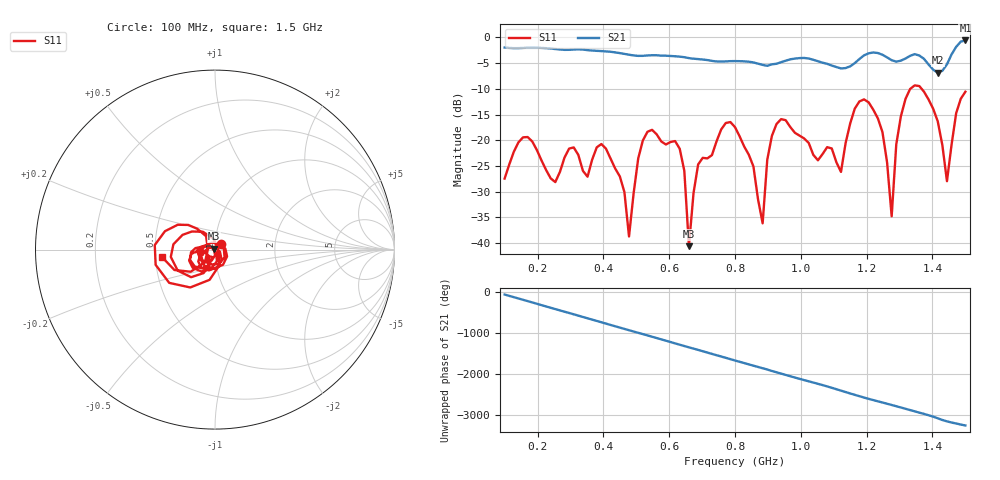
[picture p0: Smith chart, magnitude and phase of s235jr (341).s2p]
! NanoVNA-App
! Date: 2025-09-25 15:06:49
! Start: 100MHz Stop: 1,5GHz Points: 101
! S-Parameter data: F S11 S21 S12 S22
# Hz S RI R 50
!  Frequency  S11_Real  S11_Imag  S21_Real  S21_Imag  S12_Real  S12_Imag  S22_Real  S22_Imag
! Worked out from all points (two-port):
!   101 points, 100 MHz to 1.5 GHz, reference 50 ohm
!   highest |S21| = -0.59 dB at 1.5 GHz (marker M1); lowest = -6.9 dB at 1.416 GHz (marker M2)
!   |S21| within 3 dB of the highest: start of sweep to 505.9 MHz; 507.8 MHz to 598.6 MHz (90.87 MHz wide, 16.4 % of centre) (the widest 2 of 5)
!   lowest |S11| = -40.6 dB at 660 MHz (marker M3), VSWR 1.02, Z = 49.3 + j0.559 ohm
!   |S11| at or under -10 dB: start of sweep to 1.333 GHz; 1.367 GHz to end of sweep
!   S12 and S22 are empty: the file has one direction only
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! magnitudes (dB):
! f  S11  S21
! 100 MHz  -27.5  -2.0
! 156 MHz  -19.4  -2.0
! 338 MHz  -26.0  -2.4
! 408 MHz  -21.6  -2.7
! 478 MHz  -38.7  -3.4
! 520 MHz  -20.1  -3.6
! 576 MHz  -20.2  -3.5
! 632 MHz  -21.7  -3.7
! 660 MHz  -40.6  -4.0
! 688 MHz  -24.7  -4.2
! 800 MHz  -17.5  -4.6
! 884 MHz  -36.2  -5.3
! 926 MHz  -16.9  -5.1
! 1.038 GHz  -22.9  -4.4
! 1.122 GHz  -26.2  -6.0
! 1.206 GHz  -12.6  -3.1
! 1.276 GHz  -34.8  -4.4
! 1.29 GHz  -20.8  -4.7
! 1.332 GHz  -10.0  -3.6
! 1.416 GHz  -16.3  -6.9
! 1.444 GHz  -28.0  -5.2
! 1.5 GHz  -10.6  -0.6
